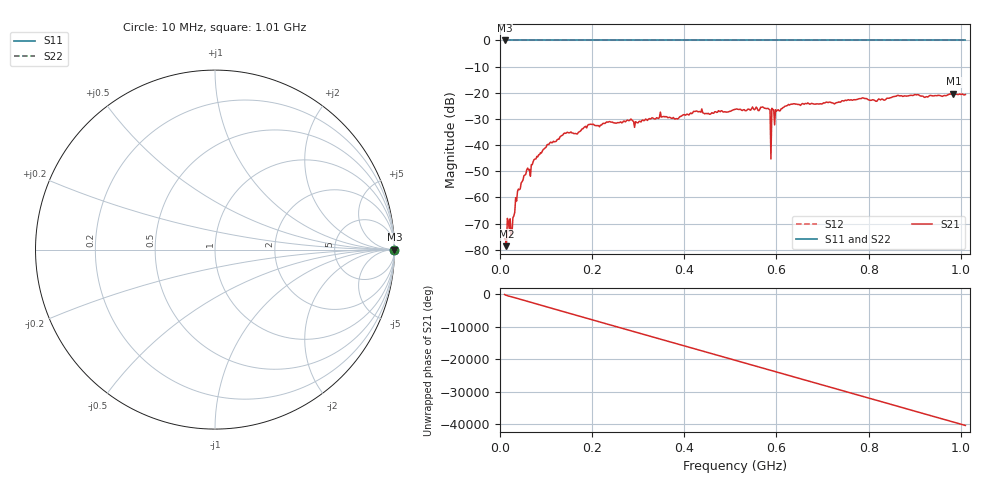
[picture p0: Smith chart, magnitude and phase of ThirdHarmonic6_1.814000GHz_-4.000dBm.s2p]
! 8/16/2025 9:58:27 PM
! C:\ANRITSUVNA\TEMP\TEMP.S2P
! CHANNEL.1
! TR.MEASUREMENT
! RAW.DATA
! RF.CORRECTION.OFF
! AVERAGING.OFF
! IF.BANDWIDTH: 5KHZ
! SWEEPTYPE:  FREQ.SWEEP(Linear)
! Reference Plane Port Info
! PORT:  PORT1  PORT2
! DISTANCE:  0  m  0  m
! TIME:  0  s  0  s
! PHASE.OFFSET:  0  deg.  0  deg.
! LOSS:  0  dB  0  dB
! REF.LOSS:  0  dB  0  dB
! REF.FREQ:  0  Hz  0  Hz
! Power Info
! POWER:  -20  dBm  -20  dBm
! EFF.POWER:  -20  dBm  -20  dBm
! SOURCE.ATTEN:  0  dB  0  dB
! TEST.ATTEN:  0  dB  0  dB
# GHZ S RI R 50.0
! FREQ.GHZ  S11RE  S11IM  S21RE  S21IM  S12RE  S12IM  S22RE  S22IM
!; PortSelection: Port_12
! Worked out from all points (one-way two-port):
!   501 points, 10 MHz to 1.01 GHz, reference 50 ohm
!   highest |S21| = -20.36 dB at 984 MHz (marker M1); lowest = -78.7 dB at 14 MHz (marker M2)
!   lowest |S11| = 0.0 dB at 10 MHz (marker M3)
!   |S11| at or under -10 dB: nowhere
!   |S22| runs from 0.0 to 0.0 dB; largest |S21 - S12| = 1.1
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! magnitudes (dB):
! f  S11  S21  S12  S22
! 10 MHz  0.0  -75.8  0.0  0.0
! 14 MHz  0.0  -78.7  0.0  0.0
! 20 MHz  0.0  -71.9  0.0  0.0
! 28 MHz  0.0  -67.7  0.0  0.0
! 36 MHz  0.0  -61.4  0.0  0.0
! 42 MHz  0.0  -57.1  0.0  0.0
! 56 MHz  0.0  -51.2  0.0  0.0
! 76 MHz  0.0  -45.3  0.0  0.0
! 136 MHz  0.0  -36.2  0.0  0.0
! 178 MHz  0.0  -33.8  0.0  0.0
! 344 MHz  0.0  -29.8  0.0  0.0
! 382 MHz  0.0  -29.9  0.0  0.0
! 510 MHz  0.0  -26.3  0.0  0.0
! 582 MHz  0.0  -26.0  0.0  0.0
! 584 MHz  0.0  -26.4  0.0  0.0
! 592 MHz  0.0  -26.4  0.0  0.0
! 594 MHz  0.0  -26.5  0.0  0.0
! 622 MHz  0.0  -25.0  0.0  0.0
! 678 MHz  0.0  -24.2  0.0  0.0
! 844 MHz  0.0  -22.1  0.0  0.0
! 984 MHz  0.0  -20.4  0.0  0.0
! 1.01 GHz  0.0  -20.7  0.0  0.0
